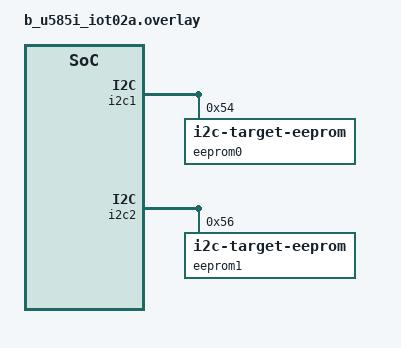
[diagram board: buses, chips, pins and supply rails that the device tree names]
/* SPDX-License-Identifier: Apache-2.0 */

/* I2C bus pins are exposed on the STMod+.
 *
 *  Bus        SDA               SCL
 *          Pin   Hdr         Pin   Hdr
 *  i2c1    PB9   CN3:10      PB8  CN3:7
 *  i2c2    PH5   CN2:10      PH4  CN2:7
 *
 * Short Pin PB9 to PH5, and PB8 to PH4, for the test to pass.
 */

/delete-node/ &eeprom0;

&i2c1 {
	eeprom0: eeprom@54 {
		compatible = "zephyr,i2c-target-eeprom";
		reg = <0x54>;
		size = <256>;
	};
};

&i2c2 {
	eeprom1: eeprom@56 {
		compatible = "zephyr,i2c-target-eeprom";
		reg = <0x56>;
		size = <256>;
	};
};
